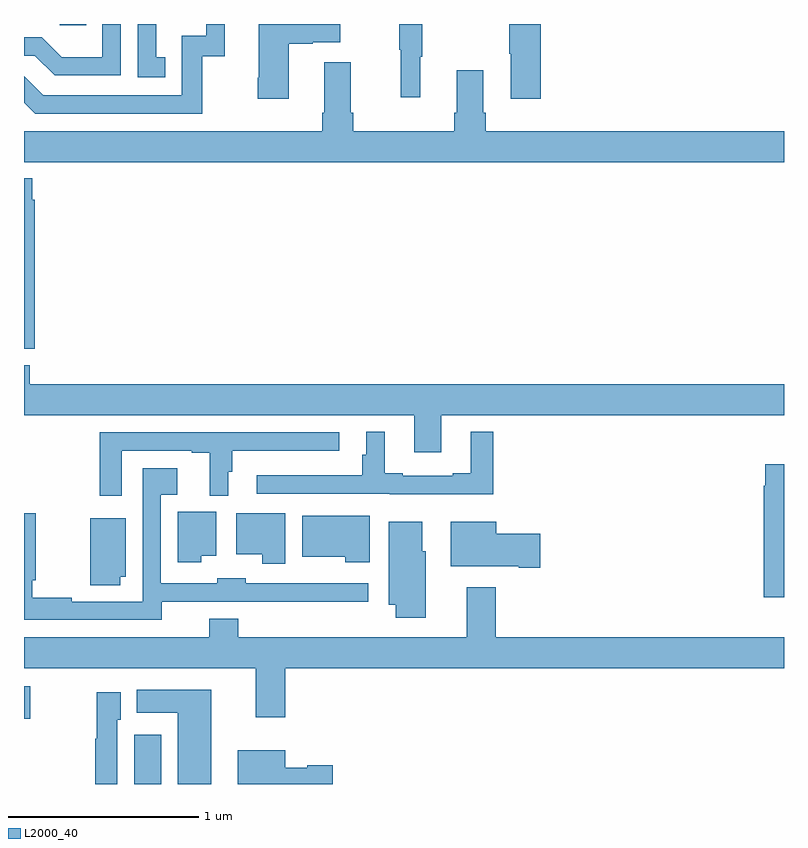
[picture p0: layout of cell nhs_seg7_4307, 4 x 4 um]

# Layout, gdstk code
import gdstk
lib = gdstk.Library(unit=1e-6, precision=1e-09)
def R(c, l, rs):  # rectangles x0, y0, x1, y1
    for r in rs: c.add(gdstk.rectangle(r[:2], r[2:], *l))
def P(c, l, *ps):  # polygons
    for p in ps: c.add(gdstk.Polygon(p, *l))
L2000_40 = (2000, 40)

nhs_seg7_4307 = lib.new_cell('nhs_seg7_4307')
R(nhs_seg7_4307, L2000_40, [(383.579,1008,383.722,1008.259), (383,1008.344,383.032,1008.514), (383.187,1011.993,383.327,1012)])
P(nhs_seg7_4307, L2000_40, [(383.744,1011.825),(383.695,1011.825),(383.695,1012),(383.598,1012),(383.598,1011.72),(383.744,1011.72)],
  [(385.085,1011.827),(385.096,1011.827),(385.096,1012),(384.975,1012),(384.975,1011.864),(384.982,1011.864),(384.982,1011.615),(385.085,1011.615)],
  [(385.721,1012),(385.555,1012),(385.555,1011.844),(385.562,1011.844),(385.562,1011.606),(385.721,1011.606)],
  [(383.508,1012),(383.412,1012),(383.412,1011.826),(383.198,1011.826),(383.094,1011.93),(383,1011.93),(383,1011.834),(383.057,1011.834),(383.162,1011.729),(383.508,1011.729)],
  [(383.938,1011.831),(384.056,1011.831),(384.056,1012),(383.958,1012),(383.958,1011.939),(383.829,1011.939),(383.829,1011.624),(383.1,1011.624),(383,1011.724),(383,1011.586),(383.058,1011.528),(383.938,1011.528)],
  [(384.394,1011.895),(384.521,1011.895),(384.521,1011.905),(384.664,1011.905),(384.664,1012),(384.236,1012),(384.236,1011.718),(384.229,1011.718),(384.229,1011.606),(384.394,1011.606)],
  [(387,1011.436),(385.43,1011.436),(385.43,1011.532),(385.417,1011.532),(385.417,1011.757),(385.277,1011.757),(385.277,1011.532),(385.265,1011.532),(385.265,1011.436),(384.734,1011.436),(384.734,1011.532),(384.721,1011.532),(384.721,1011.799),(384.581,1011.799),(384.581,1011.532),(384.569,1011.532),(384.569,1011.436),(383,1011.436),(383,1011.272),(387,1011.272)],
  [(383.057,1011.074),(383.044,1011.074),(383.044,1011.187),(383,1011.187),(383,1010.291),(383.057,1010.291)],
  [(385.195,1009.94),(387,1009.94),(387,1010.104),(383.03,1010.104),(383.03,1010.203),(383,1010.203),(383,1009.94),(385.055,1009.94),(385.055,1009.746),(385.195,1009.746)],
  [(385.469,1009.855),(385.352,1009.855),(385.352,1009.636),(385.256,1009.636),(385.256,1009.623),(384.994,1009.623),(384.994,1009.636),(384.898,1009.636),(384.898,1009.855),(384.8,1009.855),(384.8,1009.734),(384.781,1009.734),(384.781,1009.624),(384.225,1009.624),(384.225,1009.527),(384.924,1009.527),(384.924,1009.526),(385.469,1009.526)],
  [(383.514,1009.755),(383.882,1009.755),(383.882,1009.743),(383.978,1009.743),(383.978,1009.518),(384.076,1009.518),(384.076,1009.644),(384.095,1009.644),(384.095,1009.754),(384.658,1009.754),(384.658,1009.851),(383.398,1009.851),(383.398,1009.518),(383.514,1009.518)],
  [(387,1009.684),(386.901,1009.684),(386.901,1009.571),(386.893,1009.571),(386.893,1008.983),(387,1008.983)],
  [(383.724,1008.959),(384.811,1008.959),(384.811,1009.057),(384.472,1009.057),(384.472,1009.056),(384.168,1009.056),(384.168,1009.084),(384.018,1009.084),(384.018,1009.056),(383.721,1009.056),(383.721,1009.523),(383.806,1009.523),(383.806,1009.663),(383.625,1009.663),(383.625,1008.96),(383.252,1008.96),(383.252,1008.98),(383.044,1008.98),(383.044,1009.073),(383.062,1009.073),(383.062,1009.426),(383,1009.426),(383,1008.864),(383.724,1008.864)],
  [(383.932,1009.202),(384.013,1009.202),(384.013,1009.432),(383.81,1009.432),(383.81,1009.166),(383.932,1009.166)],
  [(384.376,1009.426),(384.116,1009.426),(384.116,1009.208),(384.254,1009.208),(384.254,1009.158),(384.376,1009.158)],
  [(384.82,1009.411),(384.464,1009.411),(384.464,1009.196),(384.691,1009.196),(384.691,1009.166),(384.82,1009.166)],
  [(383.506,1009.091),(383.536,1009.091),(383.536,1009.399),(383.348,1009.399),(383.348,1009.045),(383.506,1009.045)],
  [(385.114,1009.224),(385.096,1009.224),(385.096,1009.381),(384.92,1009.381),(384.92,1008.944),(384.956,1008.944),(384.956,1008.876),(385.114,1008.876)],
  [(385.717,1009.316),(385.486,1009.316),(385.486,1009.381),(385.247,1009.381),(385.247,1009.145),(385.604,1009.145),(385.604,1009.138),(385.717,1009.138)],
  [(384.374,1008.608),(387,1008.608),(387,1008.772),(385.484,1008.772),(385.484,1009.036),(385.331,1009.036),(385.331,1008.772),(384.128,1008.772),(384.128,1008.871),(383.975,1008.871),(383.975,1008.772),(383,1008.772),(383,1008.608),(384.221,1008.608),(384.221,1008.351),(384.374,1008.351)],
  [(383.986,1008.496),(383.594,1008.496),(383.594,1008.374),(383.81,1008.374),(383.81,1008),(383.986,1008)],
  [(383.49,1008.339),(383.509,1008.339),(383.509,1008.484),(383.382,1008.484),(383.382,1008.239),(383.374,1008.239),(383.374,1008),(383.49,1008)],
  [(384.625,1008.098),(384.492,1008.098),(384.492,1008.085),(384.376,1008.085),(384.376,1008.178),(384.125,1008.178),(384.125,1008),(384.625,1008)])

lib.write_gds('nhs_seg7_4307.gds')
